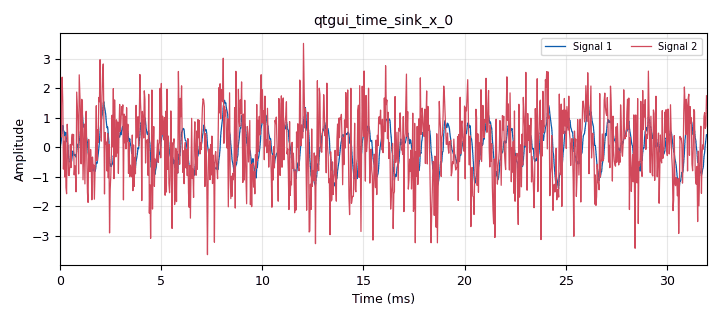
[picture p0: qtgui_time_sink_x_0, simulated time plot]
options:
  parameters:
    generate_options: qt_gui
    id: filtro_media_movil
    output_language: python
    title: Not titled yet
  states: {}

blocks:
- name: samp_rate
  id: variable
  parameters:
    value: '32000'
  states: {}
- name: analog_noise_source_x_0
  id: analog_noise_source_x
  parameters:
    amp: '1'
    noise_type: analog.GR_GAUSSIAN
    seed: '0'
    type: float
  states: {}
- name: analog_sig_source_x_0
  id: analog_sig_source_x
  parameters:
    amp: '1'
    freq: '1000'
    offset: '0'
    phase: '0'
    samp_rate: samp_rate
    type: float
    waveform: analog.GR_COS_WAVE
  states: {}
- name: blocks_add_xx_0
  id: blocks_add_xx
  parameters:
    type: float
  states: {}
- name: blocks_throttle2_0
  id: blocks_throttle2
  parameters:
    samples_per_second: samp_rate
    type: float
  states: {}
- name: epy_block_0
  id: epy_block
  parameters:
    N: '10'
    _source_code: |
      """
      Embedded Python Blocks
      Each time this file is saved, GRC will instantiate the first class it finds
      to get ports and parameters of your block. The arguments to __init__  will
      be the parameters. All of them are required to have default values!
      """

      import numpy as np
      from gnuradio import gr


      class blk(gr.sync_block):  # other base classes are basic_block, decim_block, interp_block
          """Embedded Python Block example - a simple multiply const"""

          def __init__(self, N=10):  # only default arguments here
              """arguments to this function show up as parameters in GRC"""
              gr.sync_block.__init__(
                  self,
                  name='filtro de media movil',   # will show up in GRC
                  in_sig=[np.float32],
                  out_sig=[np.float32]
              )
              # if an attribute with the same name as a parameter is found,
              # a callback is registered (properties work, too).
              self.N = N
              self.buffer = np.zeros(N)

          def work(self, input_items, output_items):
              """example: multiply with constant"""
              in_sig = input_items[0]
              out_sig = output_items[0]

              for i in range(len(in_sig)):
                  self.buffer = np.roll(self.buffer, -1)
                  self.buffer[-1] = in_sig[i]

                  out_sig[i] = np.mean(self.buffer)

              return len(output_items[0])
  states: {}
- name: qtgui_time_sink_x_0
  id: qtgui_time_sink_x
  parameters:
    autoscale: 'True'
    entags: 'False'
    grid: 'True'
    nconnections: '2'
    size: '1024'
    srate: samp_rate
    type: float
  states: {}

connections:
- [analog_noise_source_x_0, '0', blocks_add_xx_0, '1']
- [analog_sig_source_x_0, '0', blocks_add_xx_0, '0']
- [blocks_add_xx_0, '0', blocks_throttle2_0, '0']
- [blocks_add_xx_0, '0', qtgui_time_sink_x_0, '1']
- [blocks_throttle2_0, '0', epy_block_0, '0']
- [epy_block_0, '0', qtgui_time_sink_x_0, '0']

metadata:
  file_format: 1
  grc_version: 3.10.9.2
